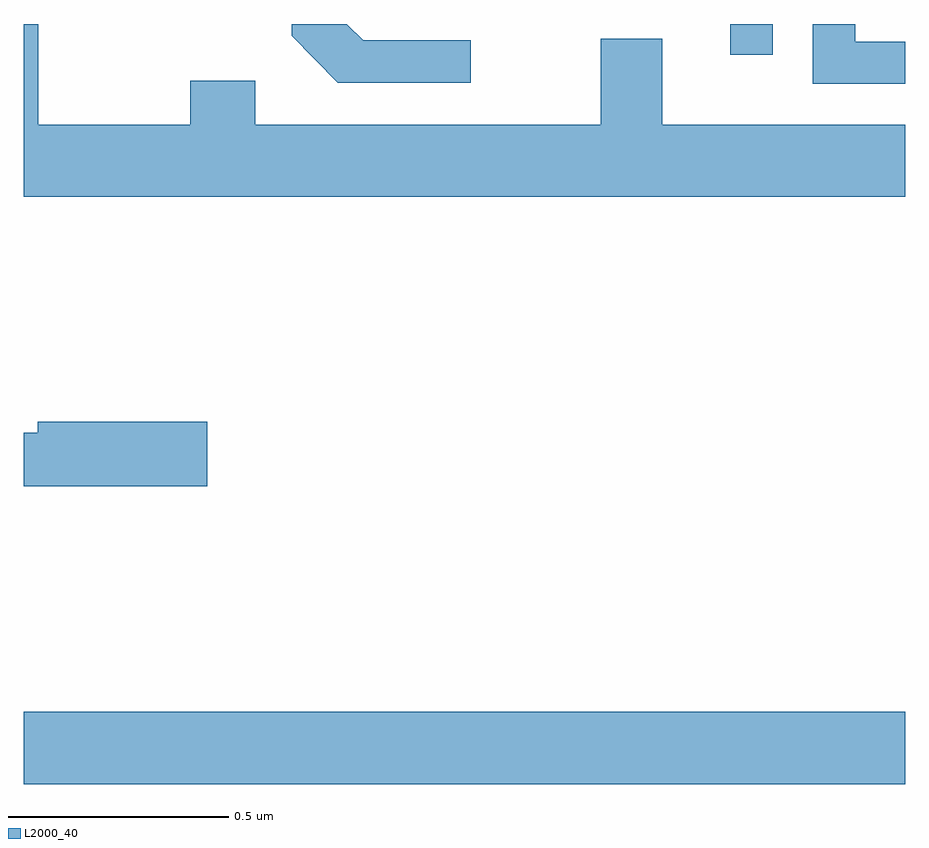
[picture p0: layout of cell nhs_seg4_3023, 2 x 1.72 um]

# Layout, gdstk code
import gdstk
lib = gdstk.Library(unit=1e-6, precision=1e-09)
def R(c, l, rs):  # rectangles x0, y0, x1, y1
    for r in rs: c.add(gdstk.rectangle(r[:2], r[2:], *l))
def P(c, l, *ps):  # polygons
    for p in ps: c.add(gdstk.Polygon(p, *l))
L2000_40 = (2000, 40)

nhs_seg4_3023 = lib.new_cell('nhs_seg4_3023')
R(nhs_seg4_3023, L2000_40, [(148,774.176,150,774.34), (149.603,775.83,149.699,775.9)])
P(nhs_seg4_3023, L2000_40, [(150,775.672),(149.449,775.672),(149.449,775.867),(149.309,775.867),(149.309,775.672),(148.525,775.672),(148.525,775.771),(148.378,775.771),(148.378,775.672),(148.033,775.672),(148.033,775.9),(148,775.9),(148,775.508),(150,775.508)],
  [(150,775.86),(149.886,775.86),(149.886,775.9),(149.79,775.9),(149.79,775.764),(150,775.764)],
  [(149.014,775.863),(148.77,775.863),(148.733,775.9),(148.608,775.9),(148.608,775.873),(148.713,775.767),(149.014,775.767)],
  [(148.417,774.998),(148.032,774.998),(148.032,774.973),(148,774.973),(148,774.851),(148.417,774.851)])

lib.write_gds('nhs_seg4_3023.gds')
